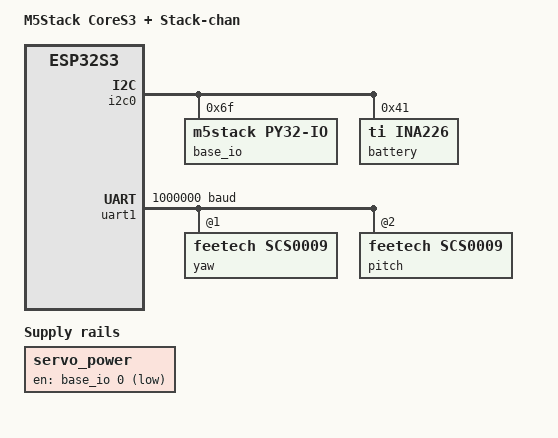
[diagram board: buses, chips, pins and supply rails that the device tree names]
/*
 * M5Stack CoreS3 on the Stack-chan base: PY32 IO expander (servo 5 V
 * switch, 12 RGB LEDs), INA226 battery monitor, two SCS0009 serial servos.
 * Detected before the plain CoreS3 by asking the PY32 for its version.
 * Sources: StackChan-BSP src/M5StackChan.cpp, drivers/PY32IOExpander (MIT,
 *          M5Stack); stackchan-rs boards/m5stack/src/board/cores3.rs.
 */
/dts-v1/;

#include <m5stack/cores3.dtsi>

/ {
	model = "M5Stack CoreS3 + Stack-chan";
	compatible = "m5stack,cores3-stackchan", "m5stack,cores3", "espressif,esp32s3";

	chosen {
		/* Handed to the application as `Extras::M5StackCoreS3StackChan`. */
		kumiki,extras = <&base_io>, <&servo_power>, <&battery>, <&uart1>;
	};

	/* Servo bus supply: PY32 line 0 (VM_EN). The servos need ~200 ms after
	 * it turns on. Off until the application enables the rail. */
	servo_power: regulator-servo {
		compatible = "regulator-fixed";
		regulator-name = "servo-5v";
		gpios = <&base_io 0 GPIO_ACTIVE_HIGH>;
		startup-delay-us = <200000>;
	};

	kumiki,detect {
		/* The PY32 boots slowly (StackChan-BSP waits up to 1.2 s); a booting
		 * chip reads 0x00 or 0xFF. */
		base-io-version {
			compatible = "kumiki,probe-i2c-ack";
			device = <&base_io>;
			register = <0x02>;
			kumiki,reject = <0x00 0xff>;
			kumiki,boot-time-ms = <1200>;
		};
	};
};

&i2c0 {
	base_io: gpio@6f {
		compatible = "m5stack,py32-io";
		reg = <0x6f>;
		gpio-controller;
		#gpio-cells = <2>;
		kumiki,leds = <12>;
		/* LED data line: push-pull output (as StackChan-BSP sets it up). */
		led-data-hog { gpio-hog; gpios = <13 GPIO_ACTIVE_HIGH>; output-low; line-name = "RGB_DATA"; };
	};

	/* Battery voltage / current: 10 mOhm shunt. */
	battery: power-monitor@41 {
		compatible = "ti,ina226";
		reg = <0x41>;
		shunt-resistor = <10000>;
	};
};

/* Servo bus on the base connector: TX = GPIO6, RX = GPIO7, 1 Mbit/s 8N1. */
&uart1 {
	status = "okay";
	current-speed = <1000000>;
	tx-gpios = <&gpio 6 GPIO_ACTIVE_HIGH>;
	rx-gpios = <&gpio 7 GPIO_ACTIVE_HIGH>;

	yaw: servo@1 {
		compatible = "feetech,scs0009";
		reg = <1>;
		kumiki,zero = <460>;
		kumiki,range = <0 1000>;
	};

	pitch: servo@2 {
		compatible = "feetech,scs0009";
		reg = <2>;
		kumiki,zero = <620>;
		kumiki,range = <0 1000>;
	};
};
